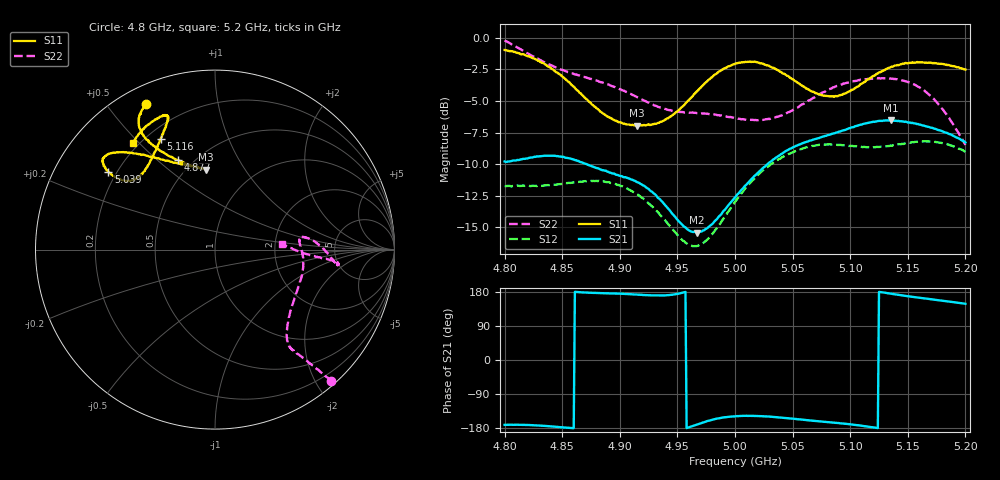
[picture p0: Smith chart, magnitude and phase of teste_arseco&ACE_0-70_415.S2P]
! Network Analyzer HP8722D
! Hewlett-Packard
! Data name: Linha & Wilkinson
! Saver's name: Rodrigo Anjos
! Comments: Teste da utilização de aquisição
! continua pelo VNA HP8722D
! Time and date: 8/5/2025 16:13
!  Frequency  S11  S21  S12  S22
# HZ  S  MA R 50
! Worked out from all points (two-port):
!   401 points, 4.8 GHz to 5.2 GHz, reference 50 ohm
!   highest |S21| = -6.52 dB at 5.135 GHz (marker M1); lowest = -15.4 dB at 4.967 GHz (marker M2)
!   |S21| within 3 dB of the highest: 4.821 GHz to 4.855 GHz (34.36 MHz wide, 0.71 % of centre); 5.035 GHz to end of sweep
!   lowest |S11| = -7.0 dB at 4.915 GHz (marker M3), VSWR 2.63, Z = 30.7 + j34.4 ohm
!   |S11| at or under -10 dB: nowhere
!   |S22| runs from -8.5 to -0.2 dB; largest |S21 - S12| = 0.83
!   S11 on the Smith chart (normalised r, x): 4.8 GHz: 0.08, +0.63; 4.877 GHz: 0.42, +0.59; 5.039 GHz: 0.17, +0.32; 5.116 GHz: 0.26, +0.59; 5.2 GHz: 0.18, +0.48
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4.8e9  0.8953 115.3  0.3242 -171.2  0.2589 -86.5  0.9767 -48.4
4.832e9  0.7993 121.8  0.3403 -173.4  0.26 -78.2  0.8118 -50.3
4.848e9  0.717 121.6  0.3389 -177.1  0.2637 -72.9  0.7524 -51.3
4.867e9  0.5952 117.0  0.3216 178.4  0.2696 -68.4  0.7053 -52.3
4.877e9  0.5404 112.5  0.3089 177.1  0.2716 -67.6  0.6838 -52.6
4.898e9  0.4663 101.2  0.2867 175.1  0.2616 -68.0  0.6319 -50.7
4.915e9  0.4489 96.2  0.2685 172.6  0.2404 -69.9  0.5827 -46.1
4.934e9  0.4611 100.6  0.2312 170.2  0.202 -70.4  0.5322 -36.4
4.955e9  0.5381 115.7  0.1803 177.9  0.1573 -60.6  0.5083 -22.6
4.967e9  0.6146 123.6  0.1696 -170.4  0.1499 -47.3  0.5034 -15.5
4.979e9  0.6941 129.5  0.1815 -158.7  0.1647 -34.2  0.4988 -9.4
5e9  0.7892 137.1  0.2333 -148.7  0.2246 -22.0  0.4818 -0.2
5.018e9  0.8029 141.2  0.2866 -147.6  0.2814 -19.7  0.4732 5.6
5.039e9  0.7349 143.8  0.3434 -151.6  0.3322 -20.1  0.4911 8.2
5.067e9  0.6132 141.5  0.3943 -160.0  0.3737 -22.5  0.5744 2.9
5.088e9  0.5882 132.2  0.422 -165.9  0.3777 -25.6  0.6444 -3.7
5.116e9  0.6854 116.2  0.4609 -176.3  0.3693 -28.6  0.6876 -7.1
5.134e9  0.7616 110.3  0.4707 175.7  0.3731 -30.6  0.6902 -6.4
5.135e9  0.7657 110.2  0.4721 175.2  0.3748 -30.6  0.6913 -6.5
5.16e9  0.8005 111.8  0.4536 164.3  0.3885 -36.9  0.6376 -5.1
5.178e9  0.7889 118.1  0.4302 157.3  0.3847 -42.7  0.5365 -3.4
5.2e9  0.7487 127.7  0.3855 148.3  0.354 -48.7  0.377 4.4
